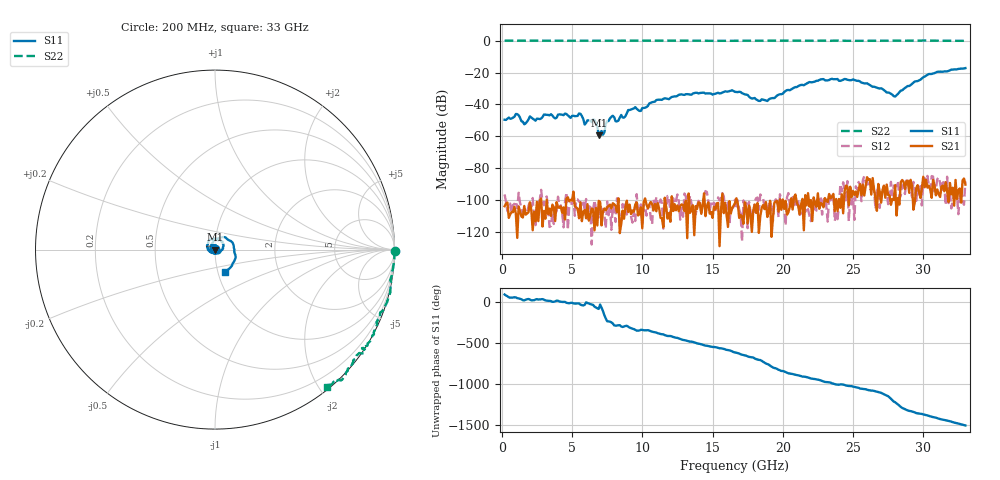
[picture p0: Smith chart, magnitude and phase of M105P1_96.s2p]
# GHZ S RI R 50
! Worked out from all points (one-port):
!   329 points, 200 MHz to 33 GHz, reference 50 ohm
!   lowest |S11| = -59.4 dB at 6.9 GHz (marker M1), VSWR 1.00, Z = 50 - j0.107 ohm
!   |S11| at or under -10 dB: start of sweep to end of sweep
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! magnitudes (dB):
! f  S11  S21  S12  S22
! 200 MHz  -49.6  -103.9  -96.5  0.0
! 1.1 GHz  -46.1  -123.8  -105.2  0.0
! 1.6 GHz  -52.5  -103.7  -105.5  0.0
! 2 GHz  -47.6  -101.4  -100.5  0.0
! 5.7 GHz  -47.3  -113.3  -104.5  -0.1
! 5.9 GHz  -52.7  -106.3  -106.0  -0.1
! 6.6 GHz  -49.8  -119.1  -100.2  -0.1
! 6.9 GHz  -59.4  -100.5  -111.6  -0.1
! 7.2 GHz  -59.0  -107.2  -106.0  -0.1
! 7.5 GHz  -50.4  -104.6  -100.9  -0.1
! 7.9 GHz  -47.1  -102.0  -103.3  0.0
! 8.2 GHz  -50.7  -107.6  -99.0  0.0
! 9 GHz  -43.5  -107.5  -102.0  0.0
! 11.2 GHz  -37.1  -105.2  -101.9  0.0
! 16.6 GHz  -32.1  -101.9  -99.8  -0.1
! 18.9 GHz  -37.9  -110.6  -106.7  0.0
! 22.1 GHz  -26.1  -113.2  -106.2  0.0
! 25 GHz  -24.3  -94.2  -98.4  -0.1
! 27.6 GHz  -32.8  -97.1  -100.6  0.0
! 28 GHz  -35.1  -90.7  -91.7  0.0
! 30.4 GHz  -21.0  -91.0  -91.4  0.1
! 33 GHz  -17.3  -90.3  -88.3  -0.1
